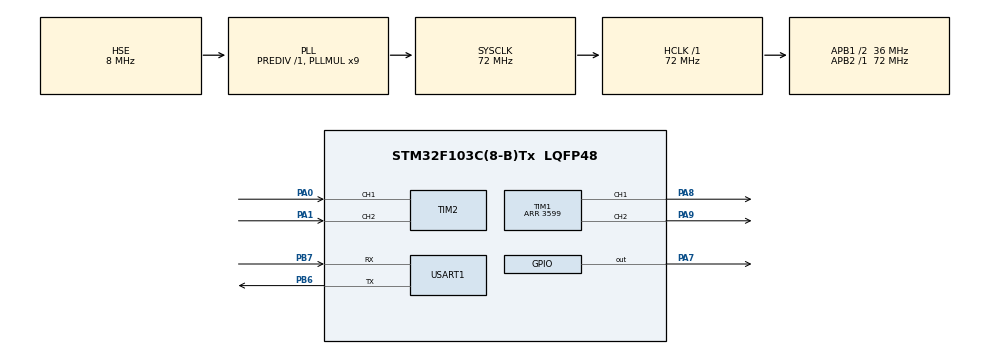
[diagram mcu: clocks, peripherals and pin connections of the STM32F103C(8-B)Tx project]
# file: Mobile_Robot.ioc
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Mcu.Family=STM32F1
Mcu.Name=STM32F103C(8-B)Tx
Mcu.Package=LQFP48
NVIC.PriorityGroup=NVIC_PRIORITYGROUP_4
NVIC.USART1_IRQn=true\:0\:0\:false\:false\:true\:true\:true
PA0-WKUP.Signal=S_TIM2_CH1_ETR
PA1.Signal=S_TIM2_CH2
PA13.Mode=Serial_Wire
PA13.Signal=SYS_JTMS-SWDIO
PA14.Mode=Serial_Wire
PA14.Signal=SYS_JTCK-SWCLK
PA7.Signal=GPIO_Output
PA8.Signal=S_TIM1_CH1
PA9.Signal=S_TIM1_CH2
PB6.Mode=Asynchronous
PB6.Signal=USART1_TX
PB7.Mode=Asynchronous
PB7.Signal=USART1_RX
PD0-OSC_IN.Mode=HSE-External-Oscillator
PD0-OSC_IN.Signal=RCC_OSC_IN
PD1-OSC_OUT.Mode=HSE-External-Oscillator
PD1-OSC_OUT.Signal=RCC_OSC_OUT
ProjectManager.HeapSize=0x200
ProjectManager.StackSize=0x400
ProjectManager.TargetToolchain=MDK-ARM V5
RCC.AHBFreq_Value=72000000
RCC.APB1CLKDivider=RCC_HCLK_DIV2
RCC.APB1Freq_Value=36000000
RCC.APB1TimFreq_Value=72000000
RCC.APB2Freq_Value=72000000
RCC.APB2TimFreq_Value=72000000
RCC.HCLKFreq_Value=72000000
RCC.PLLMUL=RCC_PLL_MUL9
RCC.PLLSourceVirtual=RCC_PLLSOURCE_HSE
RCC.SYSCLKFreq_VALUE=72000000
RCC.SYSCLKSource=RCC_SYSCLKSOURCE_PLLCLK
RCC.USBFreq_Value=72000000
SH.S_TIM1_CH1.0=TIM1_CH1,PWM Generation1 CH1
SH.S_TIM1_CH2.0=TIM1_CH2,PWM Generation2 CH2
SH.S_TIM2_CH1_ETR.0=TIM2_CH1,Encoder_Interface
SH.S_TIM2_CH2.0=TIM2_CH2,Encoder_Interface
TIM1.Channel-PWM\ Generation1\ CH1=TIM_CHANNEL_1
TIM1.Channel-PWM\ Generation2\ CH2=TIM_CHANNEL_2
TIM1.Period=3599
TIM1.Pulse-PWM\ Generation1\ CH1=1750
TIM1.Pulse-PWM\ Generation2\ CH2=1750
TIM2.EncoderMode=TIM_ENCODERMODE_TI12
USART1.VirtualMode=VM_ASYNC
VP_TIM1_VS_ClockSourceINT.Mode=Internal
board=custom

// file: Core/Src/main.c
#include "main.h"

#include "stdio.h"
#include "stdbool.h"
#include "stdint.h"
#include "string.h"
#include "stdlib.h"
#include "pid_controller.h"
#include "cJSON.h"

#define MANUAL 0
#define AUTOMATIC 1
#define DIRECT 0
#define REVERSE 1

TIM_HandleTypeDef htim1;
TIM_HandleTypeDef htim2;
UART_HandleTypeDef huart1;

/* USER CODE BEGIN PV */
uint32_t tick = 0;
float PWM_MaxVal_Out = 7199;
float PWM_MinVal_Out = -7199;
int32_t PID_cnt_pulse = 0;
double PID_Read_Vel = 0;
int16_t PID_Set_Vel = 0;
int16_t PID_Dir = 0;
uint16_t i= 0;

/* PID pamameter */

double PID_Spd_Kp = 150;
double PID_Spd_Ki = 200;
double PID_Spd_Kd = 0;

float sampleTimeSeconds = 0.005;
float pidSpeedOutput = 0;

/* Uart Reciver */
char rx_buffer[200];
unsigned int rx_index = 0;
uint8_t rx_data;

cJSON *str_json, *str_DC3, *str_DIR3;
long last;
uint32_t DC3, DIR3;

void SystemClock_Config(void);
static void MX_GPIO_Init(void);
static void MX_TIM1_Init(void);
static void MX_TIM2_Init(void);
static void MX_USART1_UART_Init(void);
/* USER CODE BEGIN PFP */
#ifdef __GNUC__
            #define PUTCHAR_PROTOTYPE int __io_putchar(int ch)
#else
            #define PUTCHAR_PROTOTYPE int fputc(int ch,FILE *f)
#endif
PUTCHAR_PROTOTYPE
{
    HAL_UART_Transmit(&huart1,(uint8_t *)&ch,1,0xFFFF);
    return ch;
}

void PWM_Send_Out(int32_t setpoint_in);
void PWM_OFF(void);
int16_t getTIMx_DetaCnt(TIM_TypeDef * TIMx);
void Get_Motor_Speed(void);
void Read_Motor_Speed(void);
void PID_Motor_Vel(void);

void UART_Received_Data(void);
void UART_Clr_Buf_Rev_Data(void);
void UART_Handle_Json(char *DataJson);
PIDControl mySpeedPID;

int main(void)
{
    HAL_Init();
    SystemClock_Config();
    MX_GPIO_Init();
    MX_TIM1_Init();
    MX_TIM2_Init();
    MX_USART1_UART_Init();
    HAL_TIM_Encoder_Start(&htim2, TIM_CHANNEL_1|TIM_CHANNEL_2);
    HAL_TIM_PWM_Start(&htim1,TIM_CHANNEL_1);
    HAL_TIM_PWM_Start(&htim1,TIM_CHANNEL_2);
    tick = HAL_GetTick();
    HAL_GPIO_WritePin(GPIOA, GPIO_PIN_7, GPIO_PIN_SET);
    PIDInit(&mySpeedPID,PID_Spd_Kp,PID_Spd_Ki,PID_Spd_Kd,sampleTimeSeconds,PWM_MinVal_Out,PWM_MaxVal_Out,AUTOMATIC,DIRECT);
    PIDControllerDirectionSet(&mySpeedPID, PID_Dir);
    HAL_UART_Receive_IT(&huart1,&rx_data,1);
    while (1)
    {
        if ( DC3 == 0 ) PWM_OFF();
        PID_Motor_Vel();
    }
}

void SystemClock_Config(void)
{
    RCC_OscInitTypeDef RCC_OscInitStruct = {0};
    RCC_ClkInitTypeDef RCC_ClkInitStruct = {0};

    /** Initializes the RCC Oscillators according to the specified parameters
    * in the RCC_OscInitTypeDef structure.
    */
    RCC_OscInitStruct.OscillatorType = RCC_OSCILLATORTYPE_HSE;
    RCC_OscInitStruct.HSEState = RCC_HSE_ON;
    RCC_OscInitStruct.HSEPredivValue = RCC_HSE_PREDIV_DIV1;
    RCC_OscInitStruct.HSIState = RCC_HSI_ON;
    RCC_OscInitStruct.PLL.PLLState = RCC_PLL_ON;
    RCC_OscInitStruct.PLL.PLLSource = RCC_PLLSOURCE_HSE;
    RCC_OscInitStruct.PLL.PLLMUL = RCC_PLL_MUL9;
    if (HAL_RCC_OscConfig(&RCC_OscInitStruct) != HAL_OK)
    {
        Error_Handler();
    }
    /** Initializes the CPU, AHB and APB buses clocks
    */
    RCC_ClkInitStruct.ClockType = RCC_CLOCKTYPE_HCLK|RCC_CLOCKTYPE_SYSCLK
                                                            |RCC_CLOCKTYPE_PCLK1|RCC_CLOCKTYPE_PCLK2;
    RCC_ClkInitStruct.SYSCLKSource = RCC_SYSCLKSOURCE_PLLCLK;
    RCC_ClkInitStruct.AHBCLKDivider = RCC_SYSCLK_DIV1;
    RCC_ClkInitStruct.APB1CLKDivider = RCC_HCLK_DIV2;
    RCC_ClkInitStruct.APB2CLKDivider = RCC_HCLK_DIV1;

    if (HAL_RCC_ClockConfig(&RCC_ClkInitStruct, FLASH_LATENCY_2) != HAL_OK)
    {
        Error_Handler();
    }
}

static void MX_TIM1_Init(void)
{

    TIM_ClockConfigTypeDef sClockSourceConfig = {0};
    TIM_MasterConfigTypeDef sMasterConfig = {0};
    TIM_OC_InitTypeDef sConfigOC = {0};
    TIM_BreakDeadTimeConfigTypeDef sBreakDeadTimeConfig = {0};

    htim1.Instance = TIM1;
    htim1.Init.Prescaler = 0;
    htim1.Init.CounterMode = TIM_COUNTERMODE_UP;
    htim1.Init.Period = 7199;
    htim1.Init.ClockDivision = TIM_CLOCKDIVISION_DIV1;
    htim1.Init.RepetitionCounter = 0;
    htim1.Init.AutoReloadPreload = TIM_AUTORELOAD_PRELOAD_DISABLE;
    if (HAL_TIM_Base_Init(&htim1) != HAL_OK)
    {
        Error_Handler();
    }
    sClockSourceConfig.ClockSource = TIM_CLOCKSOURCE_INTERNAL;
    if (HAL_TIM_ConfigClockSource(&htim1, &sClockSourceConfig) != HAL_OK)
    {
        Error_Handler();
    }
    if (HAL_TIM_PWM_Init(&htim1) != HAL_OK)
    {
        Error_Handler();
    }
    sMasterConfig.MasterOutputTrigger = TIM_TRGO_RESET;
    sMasterConfig.MasterSlaveMode = TIM_MASTERSLAVEMODE_DISABLE;
    if (HAL_TIMEx_MasterConfigSynchronization(&htim1, &sMasterConfig) != HAL_OK)
    {
        Error_Handler();
    }
    sConfigOC.OCMode = TIM_OCMODE_PWM1;
    sConfigOC.Pulse = 1750;
    sConfigOC.OCPolarity = TIM_OCPOLARITY_HIGH;
    sConfigOC.OCNPolarity = TIM_OCNPOLARITY_HIGH;
    sConfigOC.OCFastMode = TIM_OCFAST_DISABLE;
    sConfigOC.OCIdleState = TIM_OCIDLESTATE_RESET;
    sConfigOC.OCNIdleState = TIM_OCNIDLESTATE_RESET;
    if (HAL_TIM_PWM_ConfigChannel(&htim1, &sConfigOC, TIM_CHANNEL_1) != HAL_OK)
    {
        Error_Handler();
    }
    if (HAL_TIM_PWM_ConfigChannel(&htim1, &sConfigOC, TIM_CHANNEL_2) != HAL_OK)
    {
        Error_Handler();
    }
    sBreakDeadTimeConfig.OffStateRunMode = TIM_OSSR_DISABLE;
    sBreakDeadTimeConfig.OffStateIDLEMode = TIM_OSSI_DISABLE;
    sBreakDeadTimeConfig.LockLevel = TIM_LOCKLEVEL_OFF;
    sBreakDeadTimeConfig.DeadTime = 0;
    sBreakDeadTimeConfig.BreakState = TIM_BREAK_DISABLE;
    sBreakDeadTimeConfig.BreakPolarity = TIM_BREAKPOLARITY_HIGH;
    sBreakDeadTimeConfig.AutomaticOutput = TIM_AUTOMATICOUTPUT_DISABLE;
    if (HAL_TIMEx_ConfigBreakDeadTime(&htim1, &sBreakDeadTimeConfig) != HAL_OK)
    {
        Error_Handler();
    }
    HAL_TIM_MspPostInit(&htim1);

}

static void MX_TIM2_Init(void)
{

    TIM_Encoder_InitTypeDef sConfig = {0};
    TIM_MasterConfigTypeDef sMasterConfig = {0};

    htim2.Instance = TIM2;
    htim2.Init.Prescaler = 0;
    htim2.Init.CounterMode = TIM_COUNTERMODE_UP;
    htim2.Init.Period = 65535;
    htim2.Init.ClockDivision = TIM_CLOCKDIVISION_DIV1;
    htim2.Init.AutoReloadPreload = TIM_AUTORELOAD_PRELOAD_DISABLE;
    sConfig.EncoderMode = TIM_ENCODERMODE_TI12;
    sConfig.IC1Polarity = TIM_ICPOLARITY_RISING;
    sConfig.IC1Selection = TIM_ICSELECTION_DIRECTTI;
    sConfig.IC1Prescaler = TIM_ICPSC_DIV1;
    sConfig.IC1Filter = 0;
    sConfig.IC2Polarity = TIM_ICPOLARITY_RISING;
    sConfig.IC2Selection = TIM_ICSELECTION_DIRECTTI;
    sConfig.IC2Prescaler = TIM_ICPSC_DIV1;
    sConfig.IC2Filter = 0;
    if (HAL_TIM_Encoder_Init(&htim2, &sConfig) != HAL_OK)
    {
        Error_Handler();
    }
    sMasterConfig.MasterOutputTrigger = TIM_TRGO_RESET;
    sMasterConfig.MasterSlaveMode = TIM_MASTERSLAVEMODE_DISABLE;
    if (HAL_TIMEx_MasterConfigSynchronization(&htim2, &sMasterConfig) != HAL_OK)
    {
        Error_Handler();
    }

}

static void MX_USART1_UART_Init(void)
{

    huart1.Instance = USART1;
    huart1.Init.BaudRate = 115200;
    huart1.Init.WordLength = UART_WORDLENGTH_8B;
    huart1.Init.StopBits = UART_STOPBITS_1;
    huart1.Init.Parity = UART_PARITY_NONE;
    huart1.Init.Mode = UART_MODE_TX_RX;
    huart1.Init.HwFlowCtl = UART_HWCONTROL_NONE;
    huart1.Init.OverSampling = UART_OVERSAMPLING_16;
    if (HAL_UART_Init(&huart1) != HAL_OK)
    {
        Error_Handler();
    }

}

static void MX_GPIO_Init(void)
{
    GPIO_InitTypeDef GPIO_InitStruct = {0};

    /* GPIO Ports Clock Enable */
    __HAL_RCC_GPIOD_CLK_ENABLE();
    __HAL_RCC_GPIOA_CLK_ENABLE();
    __HAL_RCC_GPIOB_CLK_ENABLE();

    /*Configure GPIO pin Output Level */
    HAL_GPIO_WritePin(GPIOA, GPIO_PIN_7, GPIO_PIN_RESET);

    /*Configure GPIO pin : PA7 */
    GPIO_InitStruct.Pin = GPIO_PIN_7;
    GPIO_InitStruct.Mode = GPIO_MODE_OUTPUT_PP;
    GPIO_InitStruct.Pull = GPIO_NOPULL;
    GPIO_InitStruct.Speed = GPIO_SPEED_FREQ_LOW;
    HAL_GPIO_Init(GPIOA, &GPIO_InitStruct);

}

/* USER CODE BEGIN 4 */
void PID_Motor_Vel(void)
{
    if ((HAL_GetTick()-tick)>5)
    {
        Get_Motor_Speed();
        PIDSetpointSet(&mySpeedPID,PID_Set_Vel);
        PIDInputSet(&mySpeedPID, PID_Read_Vel);
        PIDCompute(&mySpeedPID);
        pidSpeedOutput = PIDOutputGet(&mySpeedPID);
        PWM_Send_Out(pidSpeedOutput);
        tick = HAL_GetTick();
    }
}

void PWM_Send_Out(int32_t setpoint_in)
{
    if (setpoint_in > 0) {
        /* Motor Rotate Forward Direction */
        __HAL_TIM_SET_COMPARE(&htim1,TIM_CHANNEL_1,setpoint_in);
        __HAL_TIM_SET_COMPARE(&htim1,TIM_CHANNEL_2,0);

     }
    else {
         /* Motor Rotate Reverse Direction */
         __HAL_TIM_SET_COMPARE(&htim1,TIM_CHANNEL_1, 0);
         __HAL_TIM_SET_COMPARE(&htim1,TIM_CHANNEL_2, abs(setpoint_in));
     }
}

void PWM_OFF(void)
{
     __HAL_TIM_SET_COMPARE(&htim1,TIM_CHANNEL_1, 0);
     __HAL_TIM_SET_COMPARE(&htim1,TIM_CHANNEL_2, 0);
}

int16_t getTIMx_DetaCnt(TIM_TypeDef * TIMx)
{
    int16_t cnt;
    /*This is the default belief that the encoder will not have a
    pulse change of 0x7fff per unit time, which is actually the case */
    cnt = TIMx->CNT-0x7fff;
    TIMx->CNT = 0x7fff;
    return cnt;
}

void Get_Motor_Speed(void)
{
    static int PID_cnt_pulse_now = 0;
    static int PID_cnt_pulse_last = 0;
    /* Record this left and right encoder data */
    PID_cnt_pulse_now += getTIMx_DetaCnt(TIM2);
    PID_cnt_pulse = abs(PID_cnt_pulse_now - PID_cnt_pulse_last);
    /* 5ms speed measurement */
    PID_Read_Vel = (PID_cnt_pulse*12000)/1320;
    /* Record the last encoder data */
    PID_cnt_pulse_last = PID_cnt_pulse_now;
}

void Read_Motor_Speed(void)
{
    if ((HAL_GetTick()-tick)>5)
    {
        Get_Motor_Speed();
        PWM_Send_Out(PWM_MaxVal_Out);
        tick = HAL_GetTick();
    }
}

void HAL_UART_RxCpltCallback(UART_HandleTypeDef *huart)
{
    if(huart -> Instance == USART1)
    {
        //Chuong trinh doc du lieu => mang data
        UART_Received_Data();
        HAL_UART_Receive_IT(&huart1,&rx_data,1);
    }
}

void UART_Received_Data(void)
{
    /* rx_buffer */
    if(rx_data != '\n')
    {
        rx_buffer[rx_index++] = rx_data;
    }
    else
    {
        UART_Handle_Json(rx_buffer);
        UART_Clr_Buf_Rev_Data();
    }
}

void UART_Clr_Buf_Rev_Data(void)
{
    rx_index = 0;
    for(int i = 0; i < 200; i++)
    {
        rx_buffer[i] = 0;
    }
    last = HAL_GetTick();
}

void UART_Handle_Json (char *DataJson)
{
    str_json = cJSON_Parse(DataJson);
    if(!str_json)
    {
        printf("JSON ERROR! \r\n");
        return;
    }
    else
    {
//      printf("JSON OK!\r\n");
        if(cJSON_GetObjectItem(str_json, "DC3"))
        {
            DC3 = atoi(cJSON_GetObjectItem(str_json, "DC3") ->valuestring);
						PID_Set_Vel = DC3;
        }
				if(cJSON_GetObjectItem(str_json, "DIR3"))
        {
            DIR3 = atoi(cJSON_GetObjectItem(str_json, "DIR3") ->valuestring);
						PIDControllerDirectionSet(&mySpeedPID, DIR3);
        }
        cJSON_Delete(str_json);
    }
}
/* USER CODE END 4 */

void Error_Handler(void)
{
    __disable_irq();
    while (1)
    {
    }
}

/************************ (C) COPYRIGHT STMicroelectronics *****END OF FILE****/
